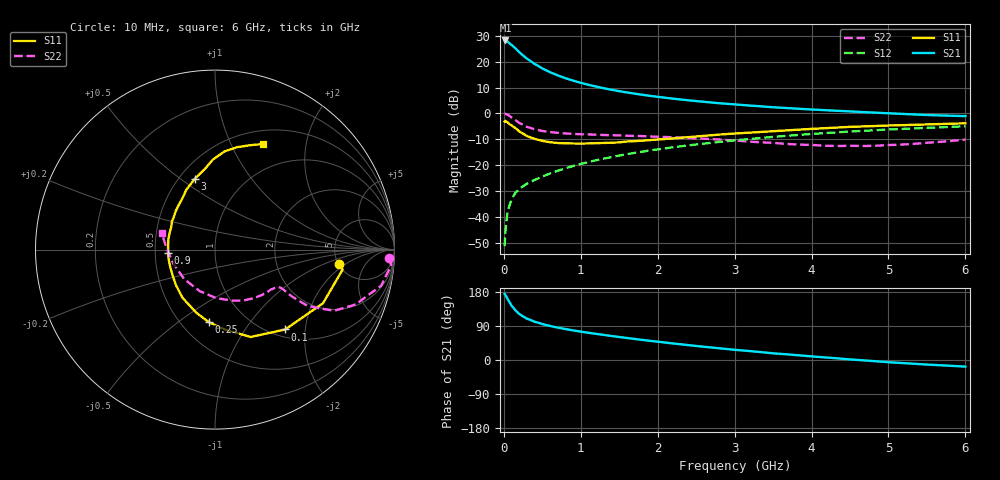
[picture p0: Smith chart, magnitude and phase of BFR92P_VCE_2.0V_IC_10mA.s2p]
! Infineon Technologies  Discrete & RF Semiconductors
! BFR92P
! VCE =  2.0 V,  IC =  10 mA
! Common Emitter S-Parameters:  Apr 2014
# GHz  S  MA  R  50
!  f  S11  S21  S12  S22
! GHz  MAG  ANG  MAG  ANG  MAG  ANG  MAG  ANG
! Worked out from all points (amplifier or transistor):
!   77 points, 10 MHz to 6 GHz, reference 50 ohm
!   highest |S21| = 28.3 dB at 20 MHz (marker M1)
!   |S21| within 3 dB of that: start of sweep to 150 MHz
!   unconditionally stable (mu >= 1): 680.1 MHz to 2.635 GHz
!   at 130 MHz: K = 0.40, MSG = 28.8 dB, |S12| = -31.8 dB
!   at 2.2 GHz: K = 1.03, MAG = 8.4 dB, |S12| = -13.1 dB
!   at 6 GHz: K = 0.89, MSG = 2.0 dB, |S12| = -4.9 dB
!   S11 on the Smith chart (normalised r, x): 10 MHz: 5.08, -1.64; 100 MHz: 1.14, -1.56; 250 MHz: 0.68, -0.66; 900 MHz: 0.59, -0.03; 3 GHz: 0.60, +0.56; 6 GHz: 0.66, +1.33
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0.01  0.6981 -6.8  25.4 174.5  0.0027 81.6  0.9721 -2.6
0.02  0.7199 -8.9  25.88 171.9  0.0049 86.0  0.9856 -5.1
0.05  0.6718 -26.4  24.59 160.3  0.0125 78.5  0.9471 -12.3
0.1  0.5925 -48.7  21.25 143.2  0.0211 69.7  0.8409 -21.3
0.15  0.526 -67.8  18.32 131.3  0.029 64.6  0.746 -27.2
0.2  0.4494 -82.8  15.4 121.5  0.0344 62.8  0.6583 -29.6
0.25  0.4065 -94.6  13.24 115.1  0.0391 61.7  0.6014 -31.3
0.3  0.3672 -106.4  11.51 109.0  0.0436 61.5  0.5511 -31.4
0.4  0.3237 -123.9  9.089 100.9  0.0516 62.4  0.4923 -31.3
0.5  0.2953 -137.1  7.447 94.8  0.0601 63.7  0.4591 -30.7
0.6  0.2772 -148.3  6.297 89.8  0.0687 64.7  0.4364 -30.2
0.7  0.268 -158.0  5.456 85.5  0.0777 65.1  0.4216 -30.1
0.8  0.2643 -167.2  4.816 81.7  0.0867 65.7  0.4105 -30.7
0.9  0.2622 -175.6  4.325 78.1  0.0963 65.9  0.402 -31.4
1.1  0.2625 172.9  3.585 71.8  0.1146 65.7  0.3928 -33.2
1.5  0.2758 151.9  2.702 60.7  0.1532 64.1  0.3763 -38.7
2.1  0.3205 128.9  2.014 46.0  0.2117 59.5  0.3503 -49.6
3  0.4093 106.1  1.498 26.9  0.3013 50.5  0.3002 -71.4
3.1  0.4172 104.2  1.46 25.2  0.3112 49.1  0.2922 -74.6
4.1  0.5118 89.7  1.173 8.0  0.4097 37.3  0.2406 -115.6
5.1  0.5894 76.4  0.993 -7.1  0.4964 24.0  0.2472 -165.8
6  0.6455 65.7  0.888 -17.4  0.566 12.0  0.3118 162.4
